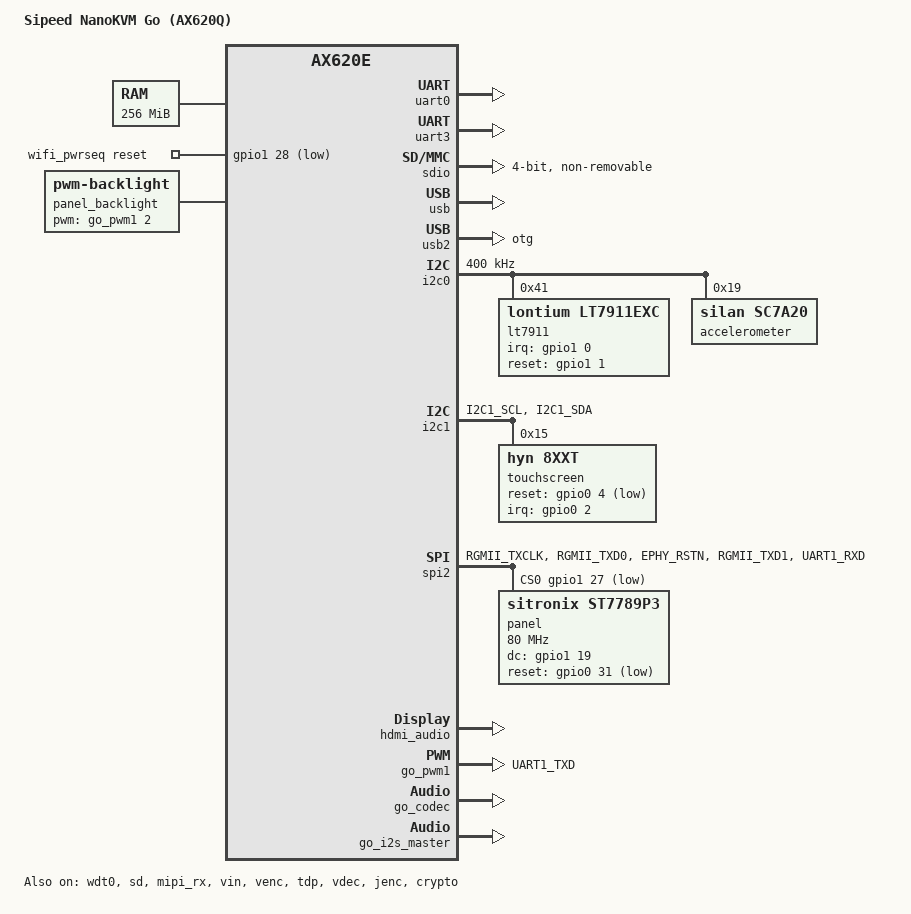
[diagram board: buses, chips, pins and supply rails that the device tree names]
// SPDX-License-Identifier: GPL-2.0-or-later
/* Go board resources shared by AArch32 and AArch64. */

/ {
	model = "Sipeed NanoKVM Go (AX620Q)";
	compatible = "sipeed,nanokvm-go", "axera,ax620q", "axera,ax620e";

	aliases {
		serial0 = &uart0;
		serial3 = &uart3;
		mmc0 = &emmc;
		mmc1 = &sd;
		mmc2 = &sdio;
		i2c1 = &i2c1;
	};

	chosen {
		stdout-path = "serial3:115200n8";
		bootargs = "console=ttyS3,115200n8 earlycon=uart8250,mmio32,0x06080000";
	};

	memory@40000000 {
		device_type = "memory";
		reg = <0 0x40000000 0 0x10000000>;
	};

	reserved-memory {
		#address-cells = <2>;
		#size-cells = <2>;
		ranges;
		ddr_retrain: ddr-retrain@40000000 {
			reg = <0 0x40000000 0 0x1000>;
			no-map;
		};
		crash_reserved: crash@45ffd000 {
			reg = <0 0x45ffd000 0 0x3000>;
			no-map;
		};
		/* Keep the factory 128 MiB Linux / 128 MiB media boundary. */
		capture_pool: capture-pool@48000000 {
			compatible = "shared-dma-pool";
			reg = <0 0x48000000 0 0x02000000>;
			no-map;
		};
		venc_framebuf: venc-framebuf@4a000000 {
			reg = <0 0x4a000000 0 0x05800000>;
			no-map;
		};
		venc_cmdbuf: venc-cmdbuf@4f800000 {
			compatible = "shared-dma-pool";
			reg = <0 0x4f800000 0 0x00800000>;
			no-map;
		};
	};

	reboot {
		compatible = "syscon-reboot";
		regmap = <&common_reset>;
		offset = <0xa8>;
		mask = <1>;
		value = <1>;
		priority = <192>;
	};

	wifi_pwrseq: wifi-pwrseq {
		compatible = "mmc-pwrseq-simple";
		pinctrl-names = "default";
		pinctrl-0 = <&go_wifi_reset>;
		reset-gpios = <&gpio1 28 GPIO_ACTIVE_LOW>;
		post-power-on-delay-ms = <200>;
		power-off-delay-us = <10000>;
	};


	panel_backlight: panel-backlight {
		compatible = "pwm-backlight";
		pwms = <&go_pwm1 2 462963 0>;
		brightness-levels = <0 255>;
		num-interpolated-steps = <255>;
		default-brightness-level = <125>;
	};
};

&uart0 { status = "okay"; };
&uart3 { status = "okay"; };
&wdt0 { status = "okay"; timeout-sec = <60>; axera,boot-watchdog; };
&eth0 { status = "disabled"; };
&emmc { status = "disabled"; };

&sd {
	status = "okay";
	bus-width = <4>;
	max-frequency = <33333333>;
	cap-sd-highspeed;
	no-sdio;
	no-mmc;
	disable-wp;
	broken-cd;
	sdhci-caps-mask = <0x7 0x00200000>;
	cdns,phy-input-delay-sd-highspeed = <2>;
	cdns,phy-input-delay-legacy = <3>;
	cdns,phy-input-delay-sd-uhs-sdr12 = <3>;
	cdns,phy-input-delay-sd-uhs-sdr25 = <2>;
	cdns,phy-dll-delay-sdclk = <0>;
	pinctrl-names = "default";
	pinctrl-0 = <&sd_clk_pins &sd_cmd_pins &sd_dat0_pins
				 &sd_dat1_pins &sd_dat2_pins &sd_dat3_pins
				 &sd_power_pins &sd_voltage_pins>;
};

&sdio {
	status = "okay";
	bus-width = <4>;
	max-frequency = <50000000>;
	cap-sd-highspeed;
	no-1-8-v;
	no-sd;
	no-mmc;
	non-removable;
	mmc-pwrseq = <&wifi_pwrseq>;
	pinctrl-names = "default";
	pinctrl-0 = <&sdio_clk_pins &sdio_cmd_pins &sdio_dat0_pins
				 &sdio_dat1_pins &sdio_dat2_pins &sdio_dat3_pins>;
};

&usb { status = "okay"; };
&usb2 {
	dr_mode = "otg";
	usb-role-switch;
	role-switch-default-mode = "peripheral";
};

&i2c0 {
	status = "okay";
	clock-frequency = <400000>;
	lt7911: displayport-receiver@41 {
		compatible = "lontium,lt7911exc";
		reg = <0x41>;
		pinctrl-names = "default";
		pinctrl-0 = <&go_bridge_irq &go_bridge_reset>;
		irq-gpios = <&gpio1 0 GPIO_ACTIVE_HIGH>;
		reset-gpios = <&gpio1 1 GPIO_ACTIVE_HIGH>;
	};
	accelerometer@19 {
		compatible = "silan,sc7a20";
		reg = <0x19>;
		mount-matrix = "1", "0", "0", "0", "1", "0", "0", "0", "1";
	};
};

&i2c1 {
	status = "okay";
	pinctrl-names = "default";
	pinctrl-0 = <&go_i2c1_scl &go_i2c1_sda>;
	touchscreen@15 {
		compatible = "hyn,8xxt";
		reg = <0x15>;
		pinctrl-names = "default";
		pinctrl-0 = <&go_touch_irq &go_touch_reset>;
		interrupt-parent = <&gpio0>;
		interrupts = <2 IRQ_TYPE_EDGE_FALLING>;
		reset-gpios = <&gpio0 4 GPIO_ACTIVE_LOW>;
		touchscreen-size-x = <240>;
		touchscreen-size-y = <296>;
		touchscreen-inverted-y;
	};
};

&spi2 {
	status = "okay";
	cs-gpios = <&gpio1 27 GPIO_ACTIVE_LOW>;
	pinctrl-0 = <&go_spi_clk &go_spi_mosi &go_spi_cs
				 &go_panel_dc &go_panel_reset>;
	panel@0 {
		compatible = "sitronix,st7789p3";
		reg = <0>;
		spi-max-frequency = <80000000>;
		buswidth = <8>;
		rotate = <0>;
		fps = <30>;
		dc-gpios = <&gpio1 19 GPIO_ACTIVE_HIGH>;
		reset-gpios = <&gpio0 31 GPIO_ACTIVE_LOW>;
	};
};

&mipi_rx { status = "okay"; };
&vin {
	status = "okay";
	memory-region = <&capture_pool>;
};
&venc {
	compatible = "axera,ax620q-vc8000e";
	status = "okay";
	memory-region = <&venc_cmdbuf>, <&venc_framebuf>;
	memory-region-names = "cmdbuf", "framebuf";
	assigned-clocks = <&clk_vpu AX620X_CLK_VPU_GLB_SEL>;
	assigned-clock-parents = <&clk_common AX620X_CPLL_312M>;
};
&tdp { status = "okay"; };
&vdec { status = "okay"; };
&jenc { status = "okay"; };
&dmaper { status = "okay"; };
&hdmi_audio { status = "okay"; axera,slave-routing = <0x320>; };
&crypto { status = "okay"; };

&pinctrl {
	go_wifi_reset: go-wifi-reset { pins = "EPHY_LED0"; function = "GPIO1_A28"; };
	go_bridge_irq: go-bridge-irq { pins = "UART2_TXD"; function = "GPIO1_A0"; bias-pull-up; };
	go_bridge_reset: go-bridge-reset { pins = "UART2_RXD"; function = "GPIO1_A1"; };
	go_i2c1_scl: go-i2c1-scl { pins = "I2C1_SCL"; function = "I2C1_SCL"; };
	go_i2c1_sda: go-i2c1-sda { pins = "I2C1_SDA"; function = "I2C1_SDA"; };
	go_touch_irq: go-touch-irq { pins = "VI_D2"; function = "GPIO0_A2"; bias-pull-up; };
	go_touch_reset: go-touch-reset { pins = "VI_D4"; function = "GPIO0_A4"; };
	go_spi_clk: go-spi-clk { pins = "RGMII_TXCLK"; function = "SPI_M2_SCLK_M"; drive-strength = <3>; };
	go_spi_mosi: go-spi-mosi { pins = "RGMII_TXD0"; function = "SPI_M2_MOSI_M"; drive-strength = <3>; };
	go_spi_cs: go-spi-cs { pins = "EPHY_RSTN"; function = "GPIO1_A27"; };
	go_panel_dc: go-panel-dc { pins = "RGMII_TXD1"; function = "GPIO1_A19"; };
	go_panel_reset: go-panel-reset { pins = "UART1_RXD"; function = "GPIO0_A31"; };
	go_backlight_pin: go-backlight-pin { pins = "UART1_TXD"; function = "PWM06"; };
};

&{/soc} {
	go_pwm1: pwm@6061000 {
		compatible = "axera,ax620e-pwm";
		reg = <0 0x06061000 0 0x400>;
		#pwm-cells = <3>;
		pinctrl-names = "default";
		pinctrl-0 = <&go_backlight_pin>;
		clocks = <&clk_periph AX620X_PCLK_PWM1_EB>,
			 <&clk_periph AX620X_CLK_PWM10_EB>,
			 <&clk_periph AX620X_CLK_PWM11_EB>,
			 <&clk_periph AX620X_CLK_PWM12_EB>,
			 <&clk_periph AX620X_CLK_PWM13_EB>;
		clock-names = "pclk", "ch0", "ch1", "ch2", "ch3";
		assigned-clocks = <&clk_periph AX620X_CLK_TIMER_SEL>;
		assigned-clock-parents = <&clk_common AX620X_CPLL_24M>;
		resets = <&periph_reset_ext 24 0xe0 24 0xe4>,
			 <&periph_reset_ext 20 0xe0 20 0xe4>,
			 <&periph_reset_ext 21 0xe0 21 0xe4>,
			 <&periph_reset_ext 22 0xe0 22 0xe4>,
			 <&periph_reset_ext 23 0xe0 23 0xe4>;
	};
};

/ {
	sound {
		compatible = "simple-audio-card";
		simple-audio-card,name = "OneKVM Speaker";
		simple-audio-card,format = "i2s";
		simple-audio-card,playback-only;
		simple-audio-card,cpu { sound-dai = <&go_i2s_master>; };
		simple-audio-card,codec {
			sound-dai = <&go_codec>;
			system-clock-frequency = <12288000>;
		};
	};
};

&{/soc} {
	go_common_reset: reset-controller-ext@2340000 {
		compatible = "axera,axera_reset_match", "syscon";
		reg = <0 0x02340000 0 0x10000>;
		#reset-cells = <4>;
	};
	go_codec: audio-codec@23f2000 {
		compatible = "axera,ax620e-codec";
		reg = <0 0x023f2000 0 0x1000>;
		#sound-dai-cells = <0>;
		clocks = <&clk_common AX620X_CLK_AUDIO_TLB_EB>,
			 <&clk_periph AX620X_CLK_I2S_AUDIO_REF_EB>;
		clock-names = "bus", "mclk";
		resets = <&go_common_reset 0 0x58 0 0x5c>,
			 <&periph_reset_ext 0 0xd8 0 0xdc>;
	};
	go_i2s_master: audio-controller@6050000 {
		compatible = "axera,ax620e-i2s", "snps,designware-i2s";
		reg = <0 0x06050000 0 0x400>;
		interrupts = <GIC_SPI 147 IRQ_TYPE_LEVEL_HIGH>;
		#sound-dai-cells = <0>;
		axera,syscon = <&clk_periph>;
		clocks = <&clk_periph AX620X_SCLK_I2S_M_EB>,
			 <&clk_periph AX620X_PCLK_I2S_M_EB>;
		clock-names = "i2sclk", "apb";
		assigned-clocks = <&clk_periph AX620X_SCLK_I2S_M_SEL>;
		assigned-clock-parents = <&clk_common AX620X_HPLL_24P576M>;
		resets = <&periph_reset_ext 6 0xe0 6 0xe4>,
			 <&periph_reset_ext 7 0xe0 7 0xe4>;
	};
};
